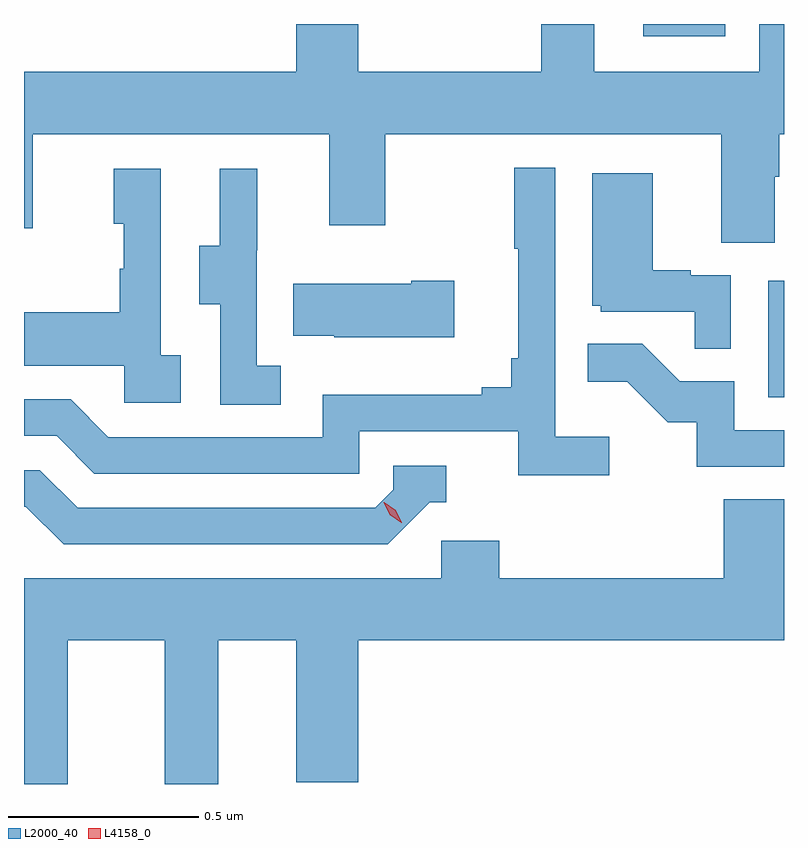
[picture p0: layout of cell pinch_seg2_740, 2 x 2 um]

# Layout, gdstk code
import gdstk
lib = gdstk.Library(unit=1e-6, precision=1e-09)
def R(c, l, rs):  # rectangles x0, y0, x1, y1
    for r in rs: c.add(gdstk.rectangle(r[:2], r[2:], *l))
def P(c, l, *ps):  # polygons
    for p in ps: c.add(gdstk.Polygon(p, *l))
L2000_40 = (2000, 40)
L4158_0 = (4158, 0)

pinch_seg2_740 = lib.new_cell('pinch_seg2_740')
R(pinch_seg2_740, L2000_40, [(1137.278,600.324,1137.32,600.631), (1136.949,601.274,1137.166,601.306)])
P(pinch_seg2_740, L2000_40, [(1137.295,600.904),(1137.308,600.904),(1137.308,601.016),(1137.32,601.016),(1137.32,601.306),(1137.255,601.306),(1137.255,601.18),(1136.821,601.18),(1136.821,601.306),(1136.681,601.306),(1136.681,601.18),(1136.2,601.18),(1136.2,601.306),(1136.036,601.306),(1136.036,601.18),(1135.32,601.18),(1135.32,600.768),(1135.343,600.768),(1135.343,601.016),(1136.123,601.016),(1136.123,600.777),(1136.271,600.777),(1136.271,601.016),(1137.155,601.016),(1137.155,600.73),(1137.295,600.73)],
  [(1136.86,600.22),(1136.718,600.22),(1136.718,600.928),(1136.61,600.928),(1136.61,600.715),(1136.621,600.715),(1136.621,600.427),(1136.602,600.427),(1136.602,600.35),(1136.525,600.35),(1136.525,600.331),(1136.106,600.331),(1136.106,600.219),(1135.542,600.219),(1135.443,600.318),(1135.32,600.318),(1135.32,600.222),(1135.406,600.222),(1135.505,600.123),(1136.202,600.123),(1136.202,600.234),(1136.621,600.234),(1136.621,600.118),(1136.86,600.118)],
  [(1135.996,600.407),(1135.932,600.407),(1135.932,600.711),(1135.934,600.711),(1135.934,600.925),(1135.835,600.925),(1135.835,600.723),(1135.781,600.723),(1135.781,600.568),(1135.836,600.568),(1135.836,600.304),(1135.996,600.304)],
  [(1135.732,600.434),(1135.68,600.434),(1135.68,600.925),(1135.556,600.925),(1135.556,600.78),(1135.582,600.78),(1135.582,600.662),(1135.572,600.662),(1135.572,600.547),(1135.32,600.547),(1135.32,600.407),(1135.584,600.407),(1135.584,600.309),(1135.732,600.309)],
  [(1137.18,600.645),(1137.074,600.645),(1137.074,600.658),(1136.974,600.658),(1136.974,600.913),(1136.816,600.913),(1136.816,600.564),(1136.838,600.564),(1136.838,600.549),(1137.085,600.549),(1137.085,600.451),(1137.18,600.451)],
  [(1136.452,600.63),(1136.339,600.63),(1136.339,600.622),(1136.029,600.622),(1136.029,600.485),(1136.137,600.485),(1136.137,600.482),(1136.452,600.482)],
  [(1137.32,600.237),(1137.189,600.237),(1137.189,600.366),(1137.045,600.366),(1136.947,600.464),(1136.803,600.464),(1136.803,600.365),(1136.907,600.365),(1137.014,600.258),(1137.091,600.258),(1137.091,600.141),(1137.32,600.141)],
  [(1136.388,600.048),(1136.431,600.048),(1136.431,600.144),(1136.292,600.144),(1136.292,600.081),(1136.244,600.033),(1135.461,600.033),(1135.362,600.132),(1135.32,600.132),(1135.32,600.036),(1135.325,600.036),(1135.424,599.937),(1136.277,599.937)],
  [(1135.435,599.684),(1135.691,599.684),(1135.691,599.306),(1135.831,599.306),(1135.831,599.684),(1136.036,599.684),(1136.036,599.31),(1136.2,599.31),(1136.2,599.684),(1137.32,599.684),(1137.32,600.056),(1137.161,600.056),(1137.161,599.848),(1136.57,599.848),(1136.57,599.946),(1136.418,599.946),(1136.418,599.848),(1135.32,599.848),(1135.32,599.306),(1135.435,599.306)])
P(pinch_seg2_740, L4158_0, [(1136.313,599.993),(1136.283,600.014),(1136.267,600.046),(1136.267,600.047),(1136.268,600.047),(1136.298,600.027),(1136.314,599.994),(1136.314,599.993)])

lib.write_gds('pinch_seg2_740.gds')
